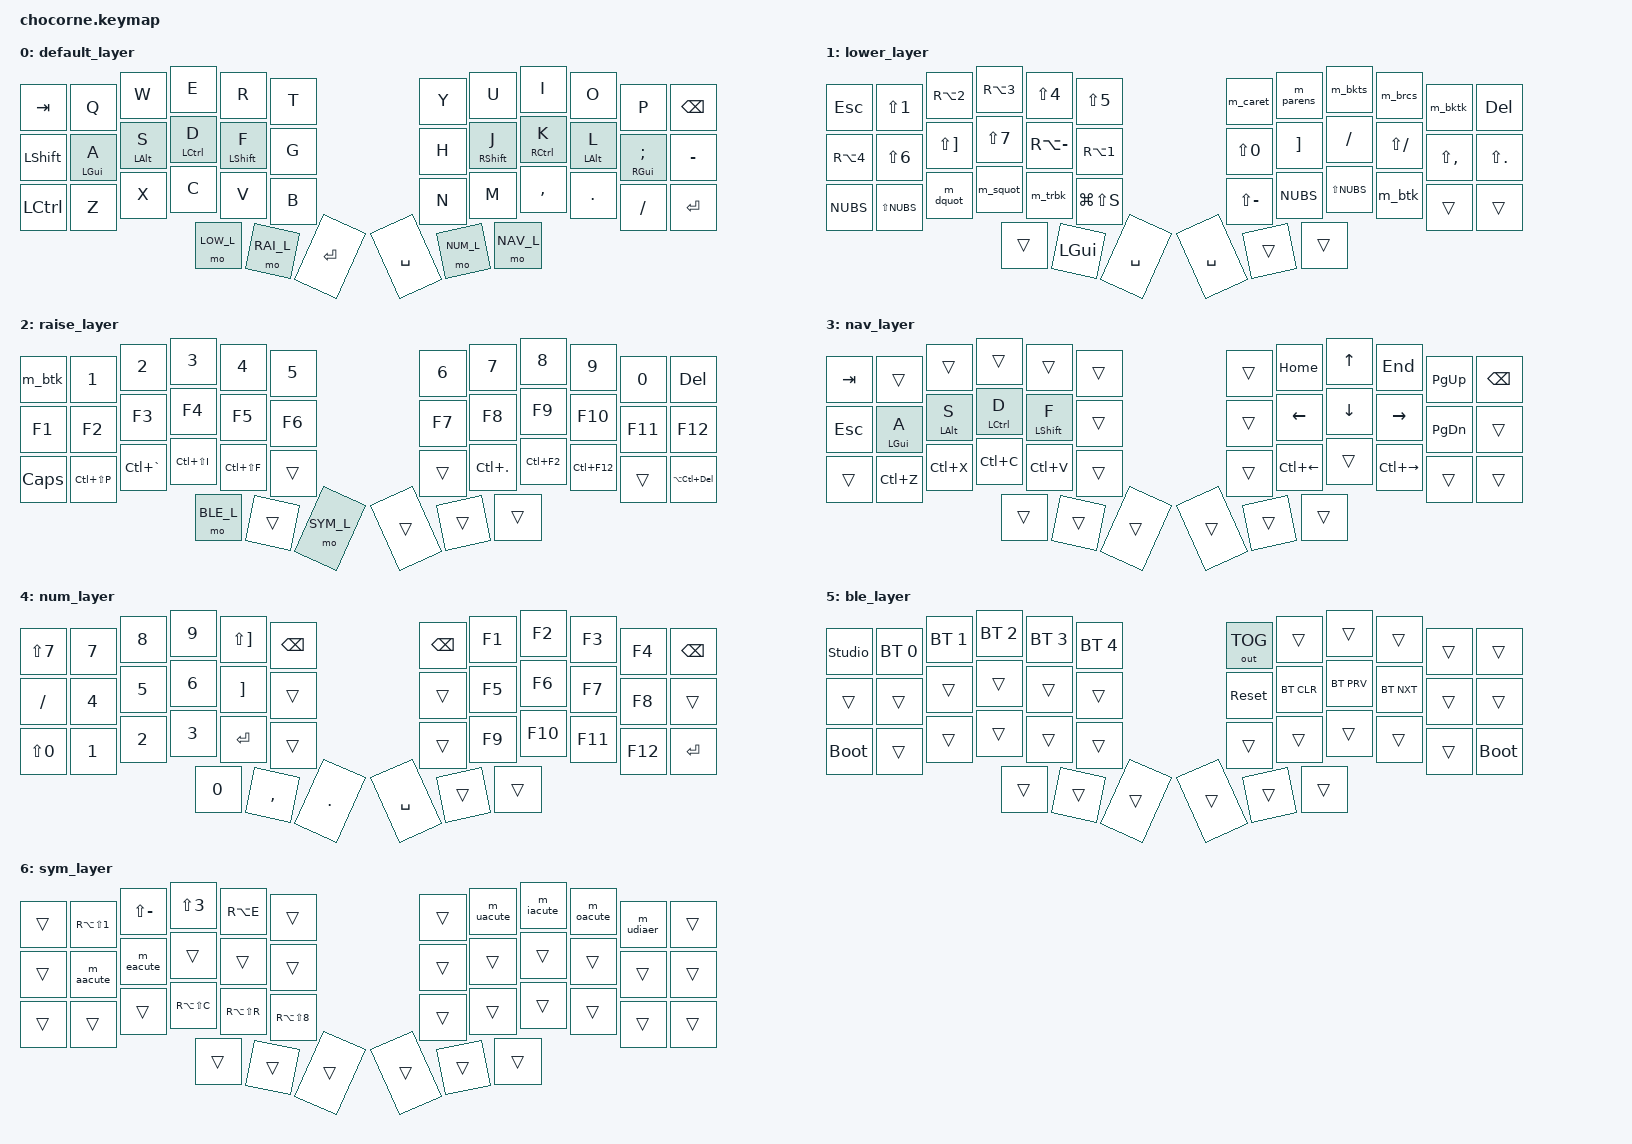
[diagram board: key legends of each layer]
/*
 * Copyright (c) 2020 The ZMK Contributors
 * SPDX-License-Identifier: MIT
 *
 * Chocorne keymap — Dev Edition (Python · Go · TypeScript)
 * SO: Español (ES) | Editor: VS Code | Terminal: uso intensivo
 *
 * Filosofía de diseño:
 *  · Brackets/parens siempre como macros de par (abre+cierra, cursor en medio)
 *  · Backtick, comillas simples y dobles en posiciones de 1 tecla
 *  · Pipe, slash y operadores de terminal cómodos en LOWER
 *  · Atajos VS Code frecuentes en RAISE (sin mover manos del homerow)
 *  · Español completo: Ñ por combo, acentos y ¿¡ en SYM
 */

#include <behaviors.dtsi>
#include <dt-bindings/zmk/bt.h>
#include <dt-bindings/zmk/keys.h>
#include <dt-bindings/zmk/outputs.h>

// ─── Capas ────────────────────────────────────────────────────────────────────
#define DEF_L 0   // Default QWERTY
#define LOW_L 1   // Lower   — símbolos programación
#define RAI_L 2   // Raise   — números + F-keys + VS Code shortcuts
#define NAV_L 3   // Nav     — navegación + terminal
#define NUM_L 4   // Numpad  — calculadora
#define BLE_L 5   // BLE     — Bluetooth / sistema
#define SYM_L 6   // Sym     — símbolos ES escritura

// Modelo: el nombre ZMK designa la POSICIÓN física (nomenclatura US) y el
// layout ES del host decide qué símbolo emite. Cada línea verificada con
// `xkbcli compile-keymap --layout es` (host: X11 Layout = es, es(basic)).
// Nivel 1 = tecla, 2 = Shift, 3 = AltGr, 4 = AltGr+Shift.
//
// Brackets y agrupadores
#define ES_LBRC   RA(APOS)       // {   AC11·3
#define ES_RBRC   RA(BSLH)       // }   BKSL·3
#define ES_LBKT   RA(LBKT)       // [   AD11·3
#define ES_RBKT   RA(RBKT)       // ]   AD12·3
#define ES_LPAR   LS(N8)         // (   AE08·2
#define ES_RPAR   LS(N9)         // )   AE09·2
#define ES_LT     NUBS           // <   LSGT·1 (tecla ISO 102)
#define ES_GT     LS(NUBS)       // >   LSGT·2
// Comillas y literales
#define ES_APOS   MINUS          // '   AE11·1
#define ES_DQUOT  LS(N2)         // "   AE02·2
// ` y ^ no existen como carácter en es(basic): sólo como dead key + espacio,
// por eso son macros (m_btk / m_caret) y no defines de una tecla.
// Operadores
#define ES_PIPE   RA(N1)         // |   AE01·3
#define ES_BSLH   RA(MINUS)      // \   AE11·3
#define ES_AT     RA(N2)         // @   AE02·3
#define ES_HASH   RA(N3)         // #   AE03·3
#define ES_TILDE  RA(N4)         // ~   AE04·3
#define ES_EURO   RA(E)          // €   AD03·3
#define ES_PLUS   RBKT           // +   AD12·1
#define ES_MINUS  FSLH           // -   AB10·1
#define ES_UNDER  LS(FSLH)       // _   AB10·2
#define ES_EQUAL  LS(N0)         // =   AE10·2
#define ES_FSLH   LS(N7)         // /   AE07·2
#define ES_STAR   LS(RBKT)       // *   AD12·2
#define ES_AMPR   LS(N6)         // &   AE06·2
#define ES_DLLR   LS(N4)         // $   AE04·2
#define ES_PRCNT  LS(N5)         // %   AE05·2
#define ES_EXCL   LS(N1)         // !   AE01·2
#define ES_SCLN   LS(COMMA)      // ;   AB08·2
#define ES_COLN   LS(DOT)        // :   AB09·2
#define ES_IQUES  LS(MINUS)      // ?   AE11·2
#define ES_IEXCL  RA(LS(N1))     // ¡   AE01·4
#define ES_MIDDOT LS(N3)         // ·   AE03·2
#define ES_COPY   RA(LS(C))      // ©   AB03·4
#define ES_REGS   RA(LS(R))      // ®   AD04·4
#define ES_TM     RA(LS(N8))     // ™   AE08·4
// Español
#define ES_NTIL   SEMI           // ñ   AC10·1

// VS Code atajos (Windows)
#define VS_FMT    LC(LS(I))      // Format document
#define VS_TERM   LC(GRAVE)      // Toggle terminal: envía Ctrl+º (TLDE en es).
                                 // VS Code espera Ctrl+` y es(basic) no puede emitir
                                 // backtick como keysym simple. Si no responde,
                                 // rebindear a Ctrl+º o usar PAL → "Toggle Terminal".
#define VS_SB     LC(B)          // Toggle sidebar
#define VS_QFX    LC(DOT)        // Quick fix / code action
#define VS_REN    LC(F2)         // Rename symbol
#define VS_DEF    LC(F12)        // Go to definition
#define VS_PAL    LC(LS(P))      // Command palette
#define VS_SRCH   LC(LS(F))      // Search en proyecto
#define WIN_SNIP  LG(LS(S))      // Recorte de pantalla


/ {
    // =========================================================================
    // BEHAVIORS
    // =========================================================================
    behaviors {

        // Homerow estándar — dedos medios (S D / K L)
        ht: hold_tap {
            compatible = "zmk,behavior-hold-tap";
            label = "HT";
            #binding-cells = <2>;
            tapping-term-ms = <220>;
            quick-tap-ms = <175>;
            flavor = "balanced";
            bindings = <&kp>, <&kp>;
        };

        // Homerow rápido — índices (F / J)
        htf: hold_tap_fast {
            compatible = "zmk,behavior-hold-tap";
            label = "HTF";
            #binding-cells = <2>;
            tapping-term-ms = <200>;
            quick-tap-ms = <175>;
            flavor = "balanced";
            bindings = <&kp>, <&kp>;
        };

        // Homerow lento — meñiques (A / Ñ)
        // tap-preferred: evita falsos positivos en posiciones de esquina
        hts: hold_tap_slow {
            compatible = "zmk,behavior-hold-tap";
            label = "HTS";
            #binding-cells = <2>;
            tapping-term-ms = <260>;
            quick-tap-ms = <175>;
            flavor = "tap-preferred";
            bindings = <&kp>, <&kp>;
        };
    };

    // =========================================================================
    // MACROS — pares de símbolos (abre + cierra, cursor entre ellos)
    // =========================================================================
    macros {

        // ()
        m_parens: macro_parens {
            compatible = "zmk,behavior-macro";
            label = "M_PARENS";
            #binding-cells = <0>;
            bindings = <&kp ES_LPAR &kp ES_RPAR &kp LEFT>;
        };

        // []
        m_bkts: macro_brackets {
            compatible = "zmk,behavior-macro";
            label = "M_BKTS";
            #binding-cells = <0>;
            bindings = <&kp ES_LBKT &kp ES_RBKT &kp LEFT>;
        };

        // {}
        m_brcs: macro_braces {
            compatible = "zmk,behavior-macro";
            label = "M_BRCS";
            #binding-cells = <0>;
            bindings = <&kp ES_LBRC &kp ES_RBRC &kp LEFT>;
        };

        // ""
        m_dquot: macro_dquot {
            compatible = "zmk,behavior-macro";
            label = "M_DQUOT";
            #binding-cells = <0>;
            bindings = <&kp ES_DQUOT &kp ES_DQUOT &kp LEFT>;
        };

        // ''
        m_squot: macro_squot {
            compatible = "zmk,behavior-macro";
            label = "M_SQUOT";
            #binding-cells = <0>;
            bindings = <&kp ES_APOS &kp ES_APOS &kp LEFT>;
        };

        // `  — backtick literal: dead_grave + espacio en es(basic)
        // wait-ms alto: el host debe registrar la dead key antes de la siguiente
        m_btk: macro_backtick {
            compatible = "zmk,behavior-macro";
            label = "M_BTK";
            #binding-cells = <0>;
            wait-ms = <40>;
            bindings = <&kp LBKT &kp SPACE>;
        };

        // ^  — circumflex literal: dead_circumflex + espacio
        m_caret: macro_caret {
            compatible = "zmk,behavior-macro";
            label = "M_CARET";
            #binding-cells = <0>;
            wait-ms = <40>;
            bindings = <&kp LS(LBKT) &kp SPACE>;
        };

        // ``  — par de backticks, cursor en medio. Taps inlineados (no se anida
        //       m_btk): el timing de una dead key no debe depender de dos colas.
        m_bktk: macro_backtick_pair {
            compatible = "zmk,behavior-macro";
            label = "M_BKTK";
            #binding-cells = <0>;
            wait-ms = <40>;
            bindings = <&kp LBKT &kp SPACE &kp LBKT &kp SPACE &kp LEFT>;
        };

        // ``` — triple backtick (Python docstrings / Markdown)
        m_trbk: macro_triple_backtick {
            compatible = "zmk,behavior-macro";
            label = "M_TRBK";
            #binding-cells = <0>;
            wait-ms = <40>;
            bindings = <&kp LBKT &kp SPACE &kp LBKT &kp SPACE &kp LBKT &kp SPACE>;
        };


        // -> — arrow operator (Go, C, Python type hints)
        m_arrow: macro_arrow {
            compatible = "zmk,behavior-macro";
            label = "M_ARROW";
            #binding-cells = <0>;
            bindings = <&kp ES_MINUS &kp ES_GT>;
        };

        // => — fat arrow (TypeScript, JS)
        m_farrow: macro_fat_arrow {
            compatible = "zmk,behavior-macro";
            label = "M_FARROW";
            #binding-cells = <0>;
            bindings = <&kp ES_EQUAL &kp ES_GT>;
        };

        // := — walrus (Python 3.8+) / declaración corta Go
        m_walrus: macro_walrus {
            compatible = "zmk,behavior-macro";
            label = "M_WALRUS";
            #binding-cells = <0>;
            bindings = <&kp ES_COLN &kp ES_EQUAL>;
        };

        // :: — scope / namespaces (TypeScript, Go)
        m_scope: macro_scope {
            compatible = "zmk,behavior-macro";
            label = "M_SCOPE";
            #binding-cells = <0>;
            bindings = <&kp ES_COLN &kp ES_COLN>;
        };

        // ... — spread / ellipsis (JS/TS, Python)
        m_dots: macro_ellipsis {
            compatible = "zmk,behavior-macro";
            label = "M_DOTS";
            #binding-cells = <0>;
            bindings = <&kp DOT &kp DOT &kp DOT>;
        };

        // ── Acentos ES ────────────────────────────────────────────────────────
        // APOS = AC11·1 = dead_acute; LS(APOS) = AC11·2 = dead_diaeresis.
        // El host compone dead key + vocal (verificado en locale Compose).
        m_aacute: macro_a_acute {
            compatible = "zmk,behavior-macro";
            label = "M_AACUTE";
            #binding-cells = <0>;
            wait-ms = <40>;
            bindings = <&kp APOS &kp A>;
        };

        m_eacute: macro_e_acute {
            compatible = "zmk,behavior-macro";
            label = "M_EACUTE";
            #binding-cells = <0>;
            wait-ms = <40>;
            bindings = <&kp APOS &kp E>;
        };

        m_iacute: macro_i_acute {
            compatible = "zmk,behavior-macro";
            label = "M_IACUTE";
            #binding-cells = <0>;
            wait-ms = <40>;
            bindings = <&kp APOS &kp I>;
        };

        m_oacute: macro_o_acute {
            compatible = "zmk,behavior-macro";
            label = "M_OACUTE";
            #binding-cells = <0>;
            wait-ms = <40>;
            bindings = <&kp APOS &kp O>;
        };

        m_uacute: macro_u_acute {
            compatible = "zmk,behavior-macro";
            label = "M_UACUTE";
            #binding-cells = <0>;
            wait-ms = <40>;
            bindings = <&kp APOS &kp U>;
        };

        m_udiaer: macro_u_diaeresis {
            compatible = "zmk,behavior-macro";
            label = "M_UDIAER";
            #binding-cells = <0>;
            wait-ms = <40>;
            bindings = <&kp LS(APOS) &kp U>;
        };
    };

    // =========================================================================
    // COMBOS
    // =========================================================================
    combos {
        compatible = "zmk,combos";

        // ── Escritura general ─────────────────────────────────────────────────

        // ESC: Q + W
        combo_esc {
            timeout-ms = <35>;
            key-positions = <1 2>;
            bindings = <&kp ESC>;
            layers = <DEF_L>;
        };

        // Caps Word: F + J — mayúsculas temporales (útil para constantes: MY_CONST)
        combo_caps_word {
            timeout-ms = <40>;
            key-positions = <16 19>;
            bindings = <&caps_word>;
            layers = <DEF_L>;
        };

        // Ñ: N + M
        combo_enie {
            timeout-ms = <40>;
            key-positions = <30 31>;
            bindings = <&kp ES_NTIL>;
            layers = <DEF_L>;
        };

        // ¿: coma + punto
        combo_iques {
            timeout-ms = <40>;
            key-positions = <32 33>;
            bindings = <&kp ES_IQUES>;
            layers = <DEF_L>;
        };

        // DEL: O + P
        combo_del {
            timeout-ms = <35>;
            key-positions = <9 10>;
            bindings = <&kp DEL>;
            layers = <DEF_L>;
        };

        // BKSP extra: I + O
        combo_bksp {
            timeout-ms = <35>;
            key-positions = <8 9>;
            bindings = <&kp BSPC>;
            layers = <DEF_L>;
        };

        // ── Programación ─────────────────────────────────────────────────────

        // ->  H + J (homerow derecha, adyacentes)
        combo_arrow {
            timeout-ms = <40>;
            key-positions = <18 19>;
            bindings = <&m_arrow>;
            layers = <DEF_L LOW_L>;
        };

        // =>  J + K
        combo_fat_arrow {
            timeout-ms = <40>;
            key-positions = <19 20>;
            bindings = <&m_farrow>;
            layers = <DEF_L LOW_L>;
        };

        // :=  K + L
        combo_walrus {
            timeout-ms = <40>;
            key-positions = <20 21>;
            bindings = <&m_walrus>;
            layers = <DEF_L LOW_L>;
        };

        // ``` W + E (Python docstring / Markdown code block)
        combo_triple_bktk {
            timeout-ms = <40>;
            key-positions = <2 3>;
            bindings = <&m_trbk>;
            layers = <DEF_L>;
        };

        // ... R + T (spread/ellipsis)
        combo_ellipsis {
            timeout-ms = <40>;
            key-positions = <4 5>;
            bindings = <&m_dots>;
            layers = <DEF_L>;
        };

        // ── Sistema ───────────────────────────────────────────────────────────

        // BLE layer: pulgares interiores (ENTER + SPACE)
        combo_ble {
            timeout-ms = <50>;
            key-positions = <38 39>;
            bindings = <&mo BLE_L>;
            layers = <DEF_L LOW_L RAI_L>;
        };

        // Bootloader: Z + X. Los combos se ejecutan siempre en la central
        // (ZMK docs/reset.md), así que esto reinicia la mitad izquierda.
        // La derecha tiene su propio &bootloader source-local en BLE_L.
        combo_bootloader {
            timeout-ms = <50>;
            key-positions = <25 26>;
            bindings = <&bootloader>;
            layers = <DEF_L>;
        };
    };

    // =========================================================================
    // KEYMAP
    // =========================================================================
    keymap {
        compatible = "zmk,keymap";

        // ─────────────────────────────────────────────────────────────────────
        // 0 · DEFAULT
        // ─────────────────────────────────────────────────────────────────────
        //
        // ┌───────┬───┬───┬───┬───┬───┐   ┌───┬───┬───┬───┬───┬───────┐
        // │  TAB  │ Q │ W │ E │ R │ T │   │ Y │ U │ I │ O │ P │ BKSP  │
        // ├───────┼───┼───┼───┼───┼───┤   ├───┼───┼───┼───┼───┼───────┤
        // │ LSHFT │GUI│ALT│CTL│SHF│ G │   │ H │SHF│CTL│ALT│GUI│  '    │
        // │       │ A │ S │ D │ F │   │   │   │ J │ K │ L │ Ñ │       │
        // ├───────┼───┼───┼───┼───┼───┤   ├───┼───┼───┼───┼───┼───────┤
        // │ LCTRL │ Z │ X │ C │ V │ B │   │ N │ M │ , │ . │ - │ ENTER │
        // └───────┴───┴───┴─┬─┴─┬─┴─┬┘   └┬──┴─┬─┴─┬─┴───┴───┴───────┘
        //                   │LOW│RAI│ENT   │SPC │NUM│NAV│
        //                   └───┴───┴───   └────┴───┴───┘
        //
        // Combos activos en DEFAULT:
        //   Q+W → ESC        F+J → CapsWord     N+M → Ñ
        //   ,+. → ¿          O+P → DEL           I+O → BKSP
        //   W+E → ```        R+T → ...
        //   H+J → ->         J+K → =>            K+L → :=
        //   ENT+SPC → BLE    Z+X → Bootloader (mitad izquierda)
        //
        default_layer {
            bindings = <
&kp TAB    &kp Q          &kp W        &kp E         &kp R          &kp T        &kp Y      &kp U          &kp I         &kp O        &kp P              &kp BSPC
&kp LSHFT  &hts LGUI A    &ht LALT S   &ht LCTRL D   &htf LSHFT F   &kp G        &kp H      &htf RSHFT J   &ht RCTRL K   &ht LALT L   &hts RGUI ES_NTIL  &kp ES_APOS
&kp LCTRL  &kp Z          &kp X        &kp C         &kp V          &kp B        &kp N      &kp M          &kp COMMA     &kp DOT      &kp ES_MINUS       &kp ENTER
                                        &mo LOW_L     &mo RAI_L      &kp ENTER    &kp SPACE  &mo NUM_L      &mo NAV_L
            >;
        };

        // ─────────────────────────────────────────────────────────────────────
        // 1 · LOWER — Símbolos de programación
        // ─────────────────────────────────────────────────────────────────────
        //
        // Izquierda: operadores sueltos (para escribir a mano cuando el combo
        //            no encaja, p.ej. dentro de expresiones complejas)
        // Derecha: pares auto-cerrados con cursor en medio
        //
        // ┌─────┬─────┬─────┬─────┬─────┬─────┐   ┌─────┬─────┬─────┬─────┬─────┬─────┐
        // │ ESC │  !  │  @  │  #  │  $  │  %  │   │  ^  │ ()⌶ │ []⌶ │ {}⌶ │ ``⌶ │ DEL │
        // ├─────┼─────┼─────┼─────┼─────┼─────┤   ├─────┼─────┼─────┼─────┼─────┼─────┤
        // │  ~  │  &  │  *  │  /  │  \  │  |  │   │  =  │  +  │  -  │  _  │  ;  │  :  │
        // ├─────┼─────┼─────┼─────┼─────┼─────┤   ├─────┼─────┼─────┼─────┼─────┼─────┤
        // │  <  │  >  │ ""⌶ │ ''⌶ │```  │SNIP │   │  ?  │  <  │  >  │  `  │     │     │
        // └─────┴─────┴─────┴──┬──┴──┬──┴──┬──┘   └──┬──┴──┬──┴──┬──┴─────┴─────┴─────┘
        //                      │▓▓▓▓▓│ GUI │SPC      │SPC │     │     │
        //                      └─────┴─────┴─────    └─────┴─────┴─────┘
        // ⌶ = macro par, cursor queda entre los dos caracteres
        // Combos ->  =>  := siguen activos en esta capa
        //
        lower_layer {
            bindings = <
&kp ESC      &kp ES_EXCL  &kp ES_AT    &kp ES_HASH   &kp ES_DLLR   &kp ES_PRCNT    &m_caret      &m_parens    &m_bkts      &m_brcs      &m_bktk      &kp DEL
&kp ES_TILDE &kp ES_AMPR  &kp ES_STAR  &kp ES_FSLH   &kp ES_BSLH   &kp ES_PIPE     &kp ES_EQUAL  &kp ES_PLUS  &kp ES_MINUS &kp ES_UNDER &kp ES_SCLN  &kp ES_COLN
&kp ES_LT    &kp ES_GT    &m_dquot     &m_squot      &m_trbk       &kp WIN_SNIP    &kp ES_IQUES  &kp ES_LT    &kp ES_GT    &m_btk       &trans       &trans
                                        &trans        &kp LGUI      &kp SPACE       &kp SPACE     &trans       &trans
            >;
        };

        // ─────────────────────────────────────────────────────────────────────
        // 2 · RAISE — Números + F-keys + VS Code
        // ─────────────────────────────────────────────────────────────────────
        //
        // ┌──────┬───┬───┬───┬───┬─────┐   ┌─────┬─────┬─────┬─────┬─────┬─────────┐
        // │  `   │ 1 │ 2 │ 3 │ 4 │  5  │   │  6  │  7  │  8  │  9  │  0  │   DEL   │
        // ├──────┼───┼───┼───┼───┼─────┤   ├─────┼─────┼─────┼─────┼─────┼─────────┤
        // │  F1  │F2 │F3 │F4 │F5 │  F6 │   │  F7 │  F8 │  F9 │ F10 │ F11 │   F12   │
        // ├──────┼───┼───┼───┼───┼─────┤   ├─────┼─────┼─────┼─────┼─────┼─────────┤
        // │ CAPS │PAL│TRM│FMT│SRH│     │   │     │ QFX │ REN │ DEF │     │ CA(DEL) │
        // └──────┴───┴───┴─┬─┴─┬─┴─┬──┘   └──┬──┴──┬──┴──┬──┴─────┴─────┴─────────┘
        //                  │BLE│▓▓▓│SYM      │    │    │    │
        //                  └───┴───┴───      └────┴────┴────┘
        //
        // Fila 3 izq = VS Code workflow:
        //   PAL = Command Palette (Ctrl+Shift+P)
        //   TRM = Toggle Terminal  (Ctrl+º; ver nota en VS_TERM)
        //   FMT = Format Document  (Ctrl+Shift+I)
        //   SRH = Search en repo   (Ctrl+Shift+F)
        // Fila 3 der = refactoring:
        //   QFX = Quick Fix        (Ctrl+.)
        //   REN = Rename Symbol    (Ctrl+F2)
        //   DEF = Go to Definition (Ctrl+F12)
        //
        raise_layer {
            bindings = <
&m_btk     &kp N1       &kp N2       &kp N3       &kp N4       &kp N5         &kp N6   &kp N7      &kp N8      &kp N9       &kp N0   &kp DEL
&kp F1     &kp F2       &kp F3       &kp F4       &kp F5       &kp F6         &kp F7   &kp F8      &kp F9      &kp F10      &kp F11  &kp F12
&kp CAPS   &kp VS_PAL   &kp VS_TERM  &kp VS_FMT   &kp VS_SRCH  &trans         &trans   &kp VS_QFX  &kp VS_REN  &kp VS_DEF   &trans   &kp LA(LC(DEL))
                                      &mo BLE_L    &trans       &mo SYM_L      &trans   &trans      &trans
            >;
        };

        // ─────────────────────────────────────────────────────────────────────
        // 3 · NAV — Navegación + Terminal + Edición
        // ─────────────────────────────────────────────────────────────────────
        //
        // ┌─────┬──────┬──────┬──────┬──────┬──────┐   ┌──────┬──────┬──────┬──────┬──────┬──────┐
        // │ TAB │      │      │      │      │      │   │      │ HOME │  ↑   │  END │ PGUP │ BKSP │
        // ├─────┼──────┼──────┼──────┼──────┼──────┤   ├──────┼──────┼──────┼──────┼──────┼──────┤
        // │ ESC │ GUI  │ ALT  │ CTRL │ SHFT │      │   │      │  ←   │  ↓   │  →   │ PGDN │      │
        // ├─────┼──────┼──────┼──────┼──────┼──────┤   ├──────┼──────┼──────┼──────┼──────┼──────┤
        // │     │ UNDO │ CUT  │ COPY │PASTE │      │   │      │ W←   │      │  W→  │      │      │
        // └─────┴──────┴──────┴──┬───┴──┬───┴──┬───┘   └──┬───┴──┬───┴──┬───┴──────┴──────┴──────┘
        //                        │      │      │          │      │      │▓▓▓│
        //                        └──────┴──────┴──────    └──────┴──────┴───┘
        //
        // Tip: mantén D (CTRL) + flecha = saltar palabra en terminal
        //      mantén F (SHFT) + flecha = seleccionar texto
        //      mantén D (CTRL) + W←/W→ = saltar palabra (Ctrl+Left/Right)
        //
        nav_layer {
            bindings = <
&kp TAB  &trans        &trans       &trans        &trans         &trans       &trans  &kp HOME      &kp UP    &kp END        &kp PG_UP  &kp BSPC
&kp ESC  &hts LGUI A   &ht LALT S   &ht LCTRL D   &htf LSHFT F   &trans       &trans  &kp LEFT      &kp DOWN  &kp RIGHT      &kp PG_DN  &trans
&trans   &kp LC(Z)     &kp LC(X)    &kp LC(C)     &kp LC(V)      &trans       &trans  &kp LC(LEFT)  &trans    &kp LC(RIGHT)  &trans     &trans
                                     &trans        &trans         &trans       &trans  &trans        &trans
            >;
        };

        // ─────────────────────────────────────────────────────────────────────
        // 4 · NUMPAD — Layout calculadora + F-keys
        // ─────────────────────────────────────────────────────────────────────
        //
        // ┌──────┬───┬───┬───┬──────┬──────┐   ┌──────┬────┬────┬────┬────┬──────┐
        // │   /  │ 7 │ 8 │ 9 │  *   │ BKSP │   │ BKSP │ F1 │ F2 │ F3 │ F4 │ BKSP │
        // ├──────┼───┼───┼───┼──────┼──────┤   ├──────┼────┼────┼────┼────┼──────┤
        // │   -  │ 4 │ 5 │ 6 │  +   │      │   │      │ F5 │ F6 │ F7 │ F8 │      │
        // ├──────┼───┼───┼───┼──────┼──────┤   ├──────┼────┼────┼────┼────┼──────┤
        // │   =  │ 1 │ 2 │ 3 │ ENTR │      │   │      │ F9 │F10 │F11 │F12 │ ENT  │
        // └──────┴───┴───┴─┬─┴──┬───┴─┬────┘   └──┬───┴─┬──┴─┬──┴────┴────┴──────┘
        //                  │ 0  │  ,  │  .        │ SPC │▓▓▓│   │
        //                  └────┴─────┴───        └─────┴────┴───┘
        //
        num_layer {
            bindings = <
&kp ES_FSLH   &kp N7  &kp N8  &kp N9  &kp ES_STAR   &kp BSPC     &kp BSPC   &kp F1   &kp F2   &kp F3   &kp F4   &kp BSPC
&kp ES_MINUS  &kp N4  &kp N5  &kp N6  &kp ES_PLUS   &trans       &trans     &kp F5   &kp F6   &kp F7   &kp F8   &trans
&kp ES_EQUAL  &kp N1  &kp N2  &kp N3  &kp ENTER     &trans       &trans     &kp F9   &kp F10  &kp F11  &kp F12  &kp ENTER
                               &kp N0  &kp COMMA     &kp DOT      &kp SPACE  &trans   &trans
            >;
        };

        // ─────────────────────────────────────────────────────────────────────
        // 5 · BLE — Bluetooth / Sistema
        // ─────────────────────────────────────────────────────────────────────
        //
        // BT_SEL 0-4 : seleccionar perfil BT
        // OUT_TOG    : alternar BT ↔ USB
        // BT_CLR     : desemparejar perfil actual
        // sys_reset  : reset firmware
        // bootloader : modo DFU (flashear nuevo firmware)
        //
        ble_layer {
            bindings = <
&studio_unlock &bt BT_SEL 0  &bt BT_SEL 1  &bt BT_SEL 2  &bt BT_SEL 3  &bt BT_SEL 4    &out OUT_TOG  &trans      &trans       &trans       &trans  &trans
&trans       &trans        &trans        &trans        &trans        &trans          &sys_reset    &bt BT_CLR  &bt BT_PRV   &bt BT_NXT   &trans  &trans
&bootloader  &trans        &trans        &trans        &trans        &trans          &trans        &trans      &trans       &trans       &trans  &bootloader
                                        &trans        &trans        &trans          &trans        &trans      &trans
            >;
        };

        // ─────────────────────────────────────────────────────────────────────
        // 6 · SYM — Símbolos ES escritura (desde RAISE, pulgar der. centro)
        // ─────────────────────────────────────────────────────────────────────
        //
        // Para escritura en español sin salir del flujo:
        // vocales con acento, ¡ ¿ · € y símbolos de puntuación menos frecuentes
        //
        // ┌─────┬─────┬─────┬─────┬─────┬─────┐   ┌─────┬─────┬─────┬─────┬─────┬─────┐
        // │     │  ¡  │  ¿  │  ·  │  €  │     │   │     │  ú  │  í  │  ó  │  ü  │     │
        // ├─────┼─────┼─────┼─────┼─────┼─────┤   ├─────┼─────┼─────┼─────┼─────┼─────┤
        // │     │  á  │  é  │     │     │     │   │     │     │     │     │     │     │
        // ├─────┼─────┼─────┼─────┼─────┼─────┤   ├─────┼─────┼─────┼─────┼─────┼─────┤
        // │     │     │     │  ©  │  ®  │  ™  │   │     │     │     │     │     │     │
        // └─────┴─────┴─────┴──┬──┴──┬──┴──┬──┘   └──┬──┴──┬──┴──┬──┴─────┴─────┴─────┘
        //                      │     │     │▓▓▓      │     │     │   │
        //                      └─────┴─────┴─────    └─────┴─────┴───┘
        //
        // Nota: los acentos se componen con dead_acute/diaeresis (APOS / LS(APOS))
        // seguidos de la vocal. RA(vocal) NO acentúa en es: da æ € ↓ → ø ←.
        //
        sym_layer {
            bindings = <
&trans  &kp ES_IEXCL   &kp ES_IQUES    &kp ES_MIDDOT  &kp ES_EURO   &trans     &trans  &m_uacute  &m_iacute  &m_oacute  &m_udiaer  &trans
&trans  &m_aacute      &m_eacute       &trans         &trans        &trans     &trans  &trans     &trans     &trans     &trans     &trans
&trans  &trans         &trans          &kp ES_COPY    &kp ES_REGS   &kp ES_TM  &trans  &trans     &trans     &trans     &trans     &trans
                                        &trans         &trans       &trans      &trans  &trans     &trans
            >;
        };
    };
};
